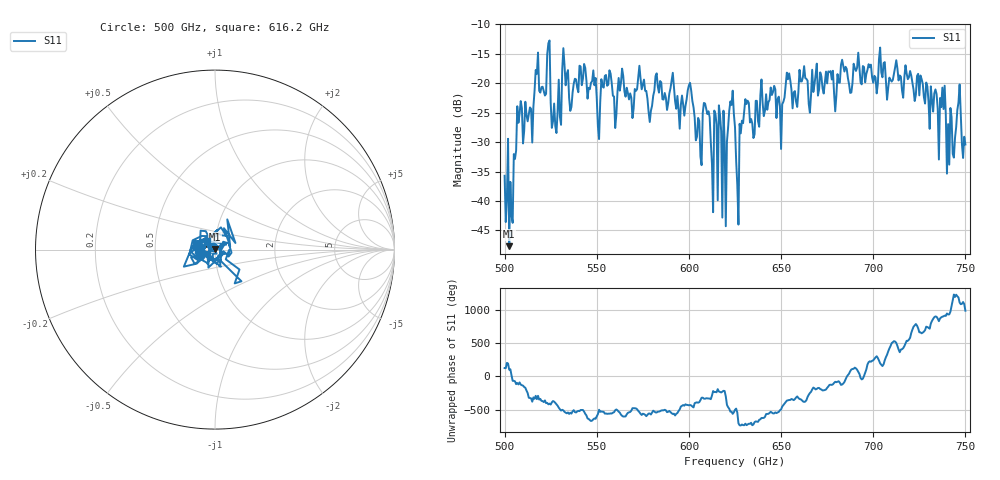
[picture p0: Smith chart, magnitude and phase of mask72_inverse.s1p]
!Created with skrf (http://scikit-rf.org).
# GHz S MA R 50.0
!freq magS11 angS11
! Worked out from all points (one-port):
!   401 points, 500 GHz to 750 GHz, reference 50 ohm
!   lowest |S11| = -47.7 dB at 502.5 GHz (marker M1), VSWR 1.01, Z = 49.9 + j0.408 ohm
!   |S11| at or under -10 dB: start of sweep to end of sweep
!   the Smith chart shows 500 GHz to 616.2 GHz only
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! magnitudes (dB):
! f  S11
! 500 GHz  -35.7
! 502.5 GHz  -47.7
! 503.8 GHz  -42.5
! 508.1 GHz  -25.2
! 523.1 GHz  -15.1
! 526.9 GHz  -23.5
! 531.2 GHz  -17.8
! 542.5 GHz  -19.2
! 551.2 GHz  -29.5
! 562.5 GHz  -21.3
! 593.8 GHz  -22.2
! 600.6 GHz  -20.0
! 605.6 GHz  -26.4
! 609.4 GHz  -24.3
! 611.9 GHz  -30.1
! 617.5 GHz  -28.2
! 619.4 GHz  -29.9
! 622.5 GHz  -23.1
! 625 GHz  -27.5
! 626.9 GHz  -44.0
! 631.2 GHz  -23.6
! 656.2 GHz  -24.3
! 687.5 GHz  -21.7
! 718.8 GHz  -19.3
! 737.5 GHz  -20.8
! 742.5 GHz  -25.8
! 746.2 GHz  -23.3
! 750 GHz  -30.4
